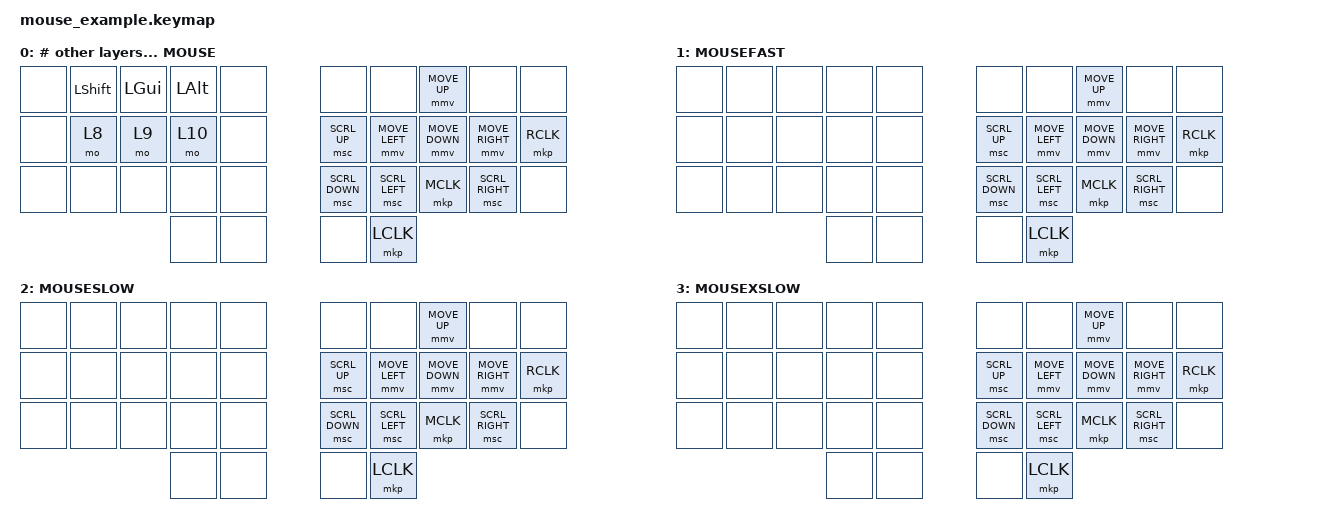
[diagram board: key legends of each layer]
#include <input/processors.dtsi>
#include <dt-bindings/zmk/pointing.h>

#define ZMK_POINTING_DEFAULT_MOVE_VAL 1000  // default: 600
#define ZMK_POINTING_DEFAULT_SCRL_VAL 80    // default: 10

// Layer aliases
#define MOUSE 7
#define MOUSEFAST 8
#define MOUSESLOW 9
#define MOUSEXSLOW 10

&mmv {
    time-to-max-speed-ms = <120>;
    acceleration-exponent = <6>;
};

&msc {
    time-to-max-speed-ms = <80>;
    acceleration-exponent = <10>;
};

&mmv_input_listener {
    set_mouse_fast {
        layers = <MOUSEFAST>;
        input-processors = <&zip_xy_scaler 2 1>;
    };
};

&mmv_input_listener {
    set_mouse_slow {
        layers = <MOUSESLOW>;
        input-processors = <&zip_xy_scaler 1 2>;
    };
};

&mmv_input_listener {
    set_mouse_extra_slow {
        layers = <MOUSEXSLOW>;
        input-processors = <&zip_xy_scaler 1 4>;
    };
};

# other things...

/ {
    keymap {
        compatible = "zmk,keymap";

        # other layers...

        MOUSE {
            bindings = <
&none  &kp LEFT_SHIFT  &kp LEFT_GUI  &kp LEFT_ALT  &none    &none           &none           &mmv MOVE_UP    &none            &none
&none  &mo 8           &mo 9         &mo 10        &none    &msc SCRL_UP    &mmv MOVE_LEFT  &mmv MOVE_DOWN  &mmv MOVE_RIGHT  &mkp RCLK
&none  &none           &none         &none         &none    &msc SCRL_DOWN  &msc SCRL_LEFT  &mkp MCLK       &msc SCRL_RIGHT  &none
                                     &none         &none    &none           &mkp LCLK
            >;
        }; 

        MOUSEFAST {
            bindings = <
&none  &none  &none  &none  &none    &none           &none           &mmv MOVE_UP    &none            &none
&none  &none  &none  &none  &none    &msc SCRL_UP    &mmv MOVE_LEFT  &mmv MOVE_DOWN  &mmv MOVE_RIGHT  &mkp RCLK
&none  &none  &none  &none  &none    &msc SCRL_DOWN  &msc SCRL_LEFT  &mkp MCLK       &msc SCRL_RIGHT  &none
                     &none  &none    &none           &mkp LCLK
            >;
        };

        MOUSESLOW {
            bindings = <
&none  &none  &none  &none  &none    &none           &none           &mmv MOVE_UP    &none            &none
&none  &none  &none  &none  &none    &msc SCRL_UP    &mmv MOVE_LEFT  &mmv MOVE_DOWN  &mmv MOVE_RIGHT  &mkp RCLK
&none  &none  &none  &none  &none    &msc SCRL_DOWN  &msc SCRL_LEFT  &mkp MCLK       &msc SCRL_RIGHT  &none
                     &none  &none    &none           &mkp LCLK
            >;
        };

        MOUSEXSLOW {
            bindings = <
&none  &none  &none  &none  &none    &none           &none           &mmv MOVE_UP    &none            &none
&none  &none  &none  &none  &none    &msc SCRL_UP    &mmv MOVE_LEFT  &mmv MOVE_DOWN  &mmv MOVE_RIGHT  &mkp RCLK
&none  &none  &none  &none  &none    &msc SCRL_DOWN  &msc SCRL_LEFT  &mkp MCLK       &msc SCRL_RIGHT  &none
                     &none  &none    &none           &mkp LCLK
            >;
        };
    };
};
